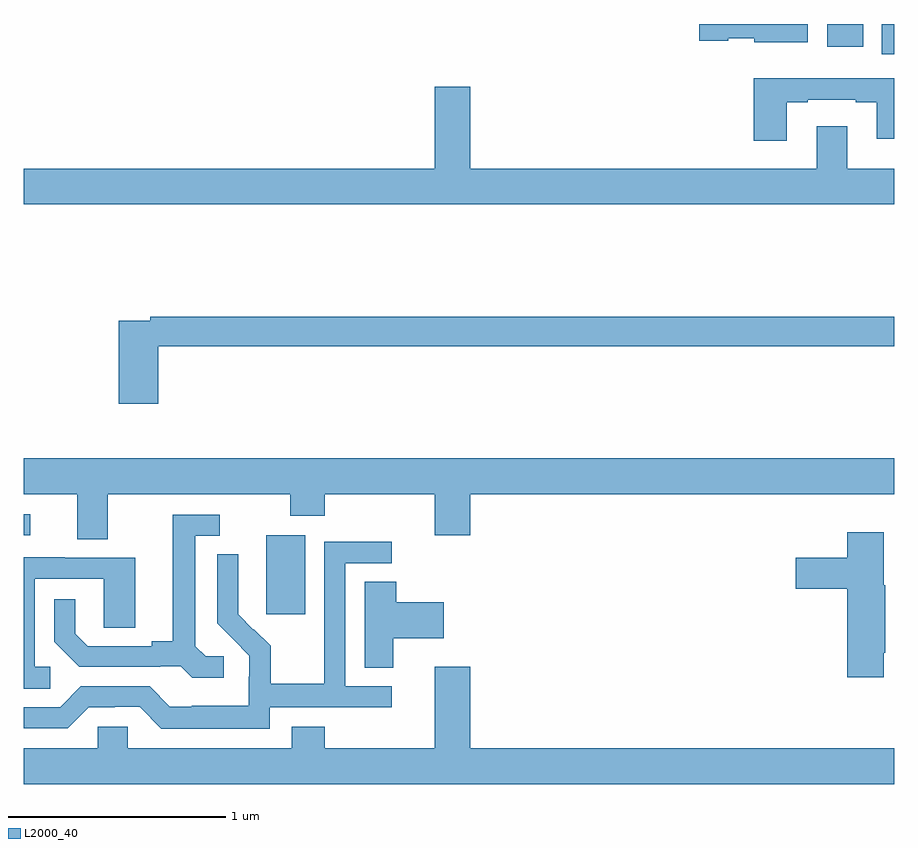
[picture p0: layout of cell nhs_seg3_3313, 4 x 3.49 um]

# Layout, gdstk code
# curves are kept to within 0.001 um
import gdstk
lib = gdstk.Library(unit=1e-6, precision=1e-09)
def R(c, l, rs):  # rectangles x0, y0, x1, y1
    for r in rs: c.add(gdstk.rectangle(r[:2], r[2:], *l))
def P(c, l, *ps):  # polygons
    for p in ps: c.add(gdstk.Polygon(p, *l))
L2000_40 = (2000, 40)

nhs_seg3_3313 = lib.new_cell('nhs_seg3_3313')
R(nhs_seg3_3313, L2000_40, [(284.114,709.689,284.293,710.05), (283,710.052,283.03,710.148), (286.943,712.26,287,712.4), (286.691,712.296,286.858,712.4)])
P(nhs_seg3_3313, L2000_40, [(286.603,712.4),(286.104,712.4),(286.104,712.322),(286.236,712.322),(286.236,712.334),(286.356,712.334),(286.356,712.316),(286.603,712.316)],
  [(286.507,712.041),(286.603,712.041),(286.603,712.053),(286.823,712.053),(286.823,712.041),(286.919,712.041),(286.919,711.872),(287,711.872),(287,712.15),(286.355,712.15),(286.355,711.864),(286.507,711.864)],
  [(287,711.736),(286.783,711.736),(286.783,711.931),(286.643,711.931),(286.643,711.736),(285.052,711.736),(285.052,712.111),(284.888,712.111),(284.888,711.736),(283,711.736),(283,711.572),(287,711.572)],
  [(283.619,710.92),(287,710.92),(287,711.056),(283.582,711.056),(283.582,711.036),(283.436,711.036),(283.436,710.655),(283.619,710.655)],
  [(283.387,710.24),(284.224,710.24),(284.224,710.141),(284.384,710.141),(284.384,710.24),(284.888,710.24),(284.888,710.052),(285.052,710.052),(285.052,710.24),(287,710.24),(287,710.404),(283,710.404),(283,710.24),(283.247,710.24),(283.247,710.032),(283.387,710.032)],
  [(283.918,709.494),(283.836,709.494),(283.789,709.541),(283.789,710.049),(283.9,710.049),(283.9,710.145),(283.685,710.145),(283.685,709.565),(283.589,709.565),(283.589,709.542),(283.294,709.542),(283.237,709.599),(283.237,709.756),(283.14,709.756),(283.14,709.562),(283.256,709.446),(283.628,709.446),(283.628,709.449),(283.722,709.449),(283.774,709.397),(283.918,709.397)],
  [(286.951,709.51),(286.959,709.51),(286.959,709.821),(286.951,709.821),(286.951,710.065),(286.784,710.065),(286.784,709.947),(286.548,709.947),(286.548,709.805),(286.784,709.805),(286.784,709.398),(286.951,709.398)],
  [(284.13,709.26),(284.692,709.26),(284.692,709.356),(284.478,709.356),(284.478,709.923),(284.692,709.923),(284.692,710.022),(284.382,710.022),(284.382,709.592),(284.38,709.592),(284.38,709.369),(284.135,709.369),(284.135,709.543),(284.058,709.62),(284.055,709.617),(283.985,709.688),(283.986,709.964),(283.89,709.964),(283.89,709.646),(284.036,709.498),(284.036,709.401),(284.034,709.401),(284.034,709.267),(283.771,709.267),(283.771,709.263),(283.671,709.263),(283.578,709.356),(283.263,709.356),(283.167,709.26),(283,709.26),(283,709.164),(283.203,709.164),(283.299,709.26),(283.418,709.26),(283.418,709.263),(283.533,709.263),(283.633,709.163),(284.13,709.163)],
  [(283.123,709.446),(283.05,709.446),(283.05,709.851),(283.368,709.851),(283.368,709.627),(283.513,709.627),(283.513,709.947),(283.189,709.947),(283.189,709.951),(283,709.951),(283,709.345),(283.123,709.345)],
  [(284.698,709.577),(284.929,709.577),(284.929,709.743),(284.711,709.743),(284.711,709.838),(284.567,709.838),(284.567,709.441),(284.698,709.441)],
  [(287,709.072),(285.052,709.072),(285.052,709.447),(284.888,709.447),(284.888,709.072),(284.384,709.072),(284.384,709.171),(284.231,709.171),(284.231,709.072),(283.479,709.072),(283.479,709.17),(283.341,709.17),(283.341,709.072),(283,709.072),(283,708.908),(287,708.908)])

lib.write_gds('nhs_seg3_3313.gds')
